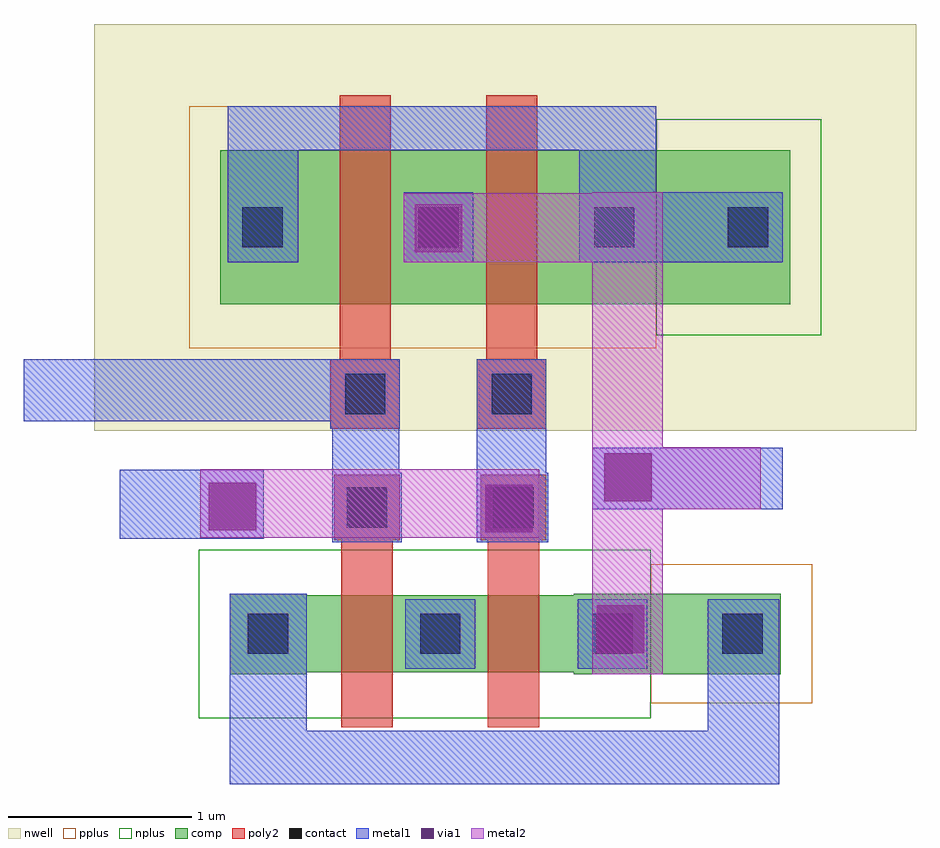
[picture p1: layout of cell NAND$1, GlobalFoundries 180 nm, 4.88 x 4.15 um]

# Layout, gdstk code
import gdstk
lib = gdstk.Library(unit=1e-6, precision=5e-09)
def R(c, l, rs):  # rectangles x0, y0, x1, y1
    for r in rs: c.add(gdstk.rectangle(r[:2], r[2:], *l))
def A(c, l, x, y, w, h, nx, ny, dx, dy):  # array of equal rectangles
    R(c, l, [(x+i*dx, y+j*dy, x+i*dx+w, y+j*dy+h) for i in range(nx) for j in range(ny)])
nwell = (21, 0)
comp = (22, 0)
poly2 = (30, 0)
pplus = (31, 0)
nplus = (32, 0)
contact = (33, 0)
metal1 = (34, 0)
via1 = (35, 0)
metal2 = (36, 0)

nfet_1_1 = lib.new_cell('nfet$1$1')
R(nfet_1_1, comp, [(-0.42,-0.01,0,0.43), (1.46,-0.01,1.88,0.43), (1.88,-0.01,2.59,0.43), (0,0,1.46,0.42)])
R(nfet_1_1, poly2, [(0.19,-0.3,0.47,0.72), (0.99,-0.3,1.27,0.72), (0.15,0.72,0.51,1.08), (0.95,0.72,1.31,1.08)])
R(nfet_1_1, pplus, [(1.88,-0.17,2.76,0.59)])
R(nfet_1_1, nplus, [(-0.59,-0.25,1.88,0.67)])
A(nfet_1_1, contact, -0.32, 0.1, 0.22, 0.22, 3, 1, 0.94, 0)
R(nfet_1_1, contact, [(2.27,0.1,2.49,0.32), (0.22,0.79,0.44,1.01), (1.02,0.79,1.24,1.01)])
A(nfet_1_1, metal1, -0.4, 0.02, 0.38, 0.38, 3, 1, 0.94, 0)
R(nfet_1_1, metal1, [(2.19,0.02,2.57,0.4), (0.14,0.71,0.52,1.09), (0.94,0.71,1.32,1.09)])

pfet_1 = lib.new_cell('pfet$1')

pfet_3 = lib.new_cell('pfet$3')
R(pfet_3, nwell, [(-1.15,-0.69,3.34,1.53)])
R(pfet_3, comp, [(-0.46,0,0,0.84), (0,0,1.46,0.84), (1.46,0,1.92,0.84), (1.92,0,2.65,0.84)])
R(pfet_3, poly2, [(0.19,-0.3,0.47,1.14), (0.99,-0.3,1.27,1.14), (0.14,1.14,0.52,1.52), (0.94,1.14,1.32,1.52)])
R(pfet_3, pplus, [(-0.63,-0.24,1.92,1.08)])
R(pfet_3, nplus, [(1.92,-0.17,2.82,1.01)])
A(pfet_3, contact, -0.34, 0.31, 0.22, 0.22, 3, 1, 0.96, 0)
R(pfet_3, contact, [(2.31,0.31,2.53,0.53), (0.22,1.22,0.44,1.44), (1.02,1.22,1.24,1.44)])
A(pfet_3, metal1, -0.42, 0.23, 0.38, 0.38, 3, 1, 0.96, 0)
R(pfet_3, metal1, [(2.23,0.23,2.61,0.61), (0.14,1.14,0.52,1.52), (0.94,1.14,1.32,1.52)])

nand_1 = lib.new_cell('NAND$1')
R(nand_1, metal1, [(-6.105,2.15,-5.685,3.19), (-6.105,2.15,-3.105,2.44), (-3.495,2.15,-3.105,3.16), (-4.755,3.47,-4.375,4.47), (-6.705,3.49,-5.92,3.865), (-5.545,3.545,-5.18,4.47), (-4.125,3.65,-3.085,3.985), (-7.23,4.13,-5.175,4.47), (-6.115,5,-5.73,5.85), (-4.195,5,-3.09,5.38), (-4.195,5.005,-3.775,5.85), (-6.115,5.61,-3.775,5.85)])
R(nand_1, via1, [(-4.1,2.865,-3.84,3.125), (-4.71,3.525,-4.45,3.785), (-6.22,3.535,-5.96,3.795), (-4.06,3.695,-3.8,3.955), (-5.095,5.055,-4.835,5.315)])
R(nand_1, metal2, [(-4.125,2.75,-3.74,5.38), (-6.265,3.495,-4.415,3.87), (-4.125,3.65,-3.205,3.99), (-5.155,5,-3.795,5.375)])
nand_1.add(gdstk.Reference(nfet_1_1, (-5.685,2.76)))
nand_1.add(gdstk.Reference(pfet_1, (-6.585,1.075)))
nand_1.add(gdstk.Reference(pfet_3, (-5.695,5.61), x_reflection=True))

lib.write_gds('NAND_1.gds')
